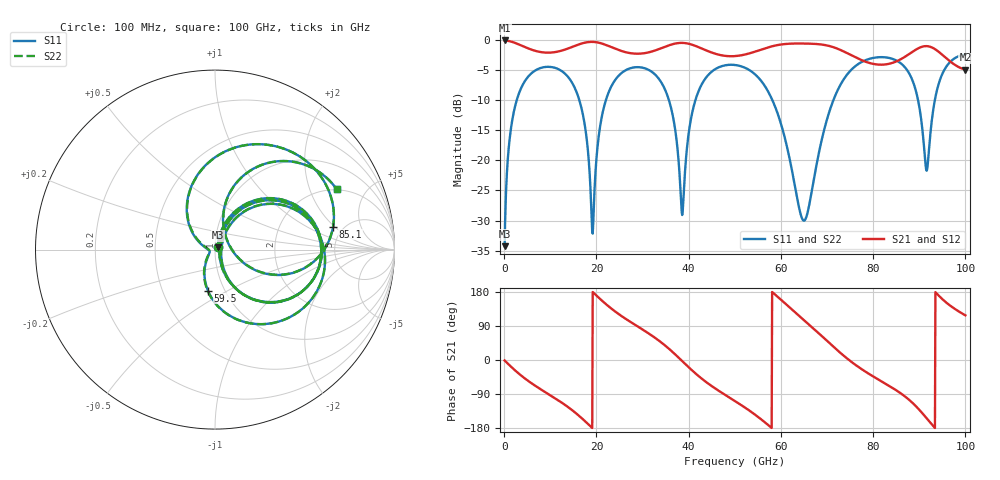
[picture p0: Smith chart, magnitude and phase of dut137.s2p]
! Touchstone file exported from HFSS 2026.1.0
!  File:  C:/ffzhzh/LocalFiles/Ansys_Project_Files/temp_train_TSV_RDL_137_1783641219_29156.aedt
!  Generated:  08:02:22 AM Jul 10, 2026
!  Design:  TSV_RDL
!  Project:  temp_train_TSV_RDL_137_1783641219_29156
! Variables:
!  h_bsmrdl = 4.45um
!  h_ox = 20um
!  h_rdl = 5um
!  h_sub = 74.89um
!  h_tmrdl = 4.91um
!  h_tsv = 74.89um
!  h_via = 3um
!  l_bsmrdl = 356.46um
!  l_sub = 3166.72um
!  l_tmrdl = 398.58um
!  m_sub = 200um
!  pitch = 55.68um
!  r_tsv = 9.06um
!  s_tmrdl = 10um
!  w_bsmrdl = 11.31um
!  w_sub = 500um
!  w_tmrdl = 23.03um
!  x_tsv_center1 = 410.095um
!  x_tsv_center2 = 777.865um
!  x_tsv_center3 = 1199.475um
!  x_tsv_center4 = 1567.245um
!  x_tsv_center5 = 1988.855um
!  x_tsv_center6 = 2356.625um
# GHz S MA R 50.000000
! Terminal data exported
! Port[1] = TM_RDL1_1_T1
! Port[2] = TM_RDL5_1_T1
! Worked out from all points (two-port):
!   1000 points, 100 MHz to 100 GHz, reference 50 ohm
!   highest |S21| = -0.12 dB at 100 MHz (marker M1); lowest = -5.0 dB at 100 GHz (marker M2)
!   |S21| within 3 dB of the highest: start of sweep to 76.7 GHz; 86.26 GHz to 95.93 GHz (9.669 GHz wide, 10.6 % of centre)
!   lowest |S11| = -34.3 dB at 100 MHz (marker M3), VSWR 1.04, Z = 51.4 + j1.35 ohm
!   |S11| at or under -10 dB: 16.29 GHz to 22.07 GHz (5.781 GHz wide, 30.1 % of centre); 35.71 GHz to 41.48 GHz (5.766 GHz wide, 14.9 % of centre); 58.14 GHz to 71.4 GHz (13.26 GHz wide, 20.5 % of centre) (the widest 3 of 5)
!   |S22| runs from -34.3 to -2.4 dB; largest |S21 - S12| = 2e-14
!   S11 on the Smith chart (normalised r, x): 100 MHz: 1.03, +0.03; 59.5 GHz: 0.84, -0.40; 85.1 GHz: 4.13, +1.92; 100 GHz: 1.98, +3.11
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0.1  0.01937 42.6  0.9859 -1.2  0.9859 -1.2  0.01937 42.6
! Gamma 0 0 0 0
! Port Impedance 50 0 50 0
1.6  0.1976 66.0  0.9626 -18.9  0.9626 -18.9  0.1976 66.0
4.7  0.4659 36.7  0.8627 -50.6  0.8627 -50.6  0.4659 36.7
10.5  0.5911 -7.9  0.7844 -96.8  0.7844 -96.8  0.5911 -8.0
16.8  0.2671 -60.2  0.93 -153.3  0.93 -153.3  0.2671 -60.2
19.2  0.02463 9.1  0.9593 179.4  0.9593 179.4  0.02445 9.1
23.2  0.4075 42.4  0.8694 136.1  0.8694 136.1  0.4075 42.5
33.4  0.4815 -36.0  0.8314 52.5  0.8314 52.5  0.4815 -36.1
36.5  0.2405 -62.0  0.9174 21.3  0.9174 21.3  0.2403 -62.3
38.6  0.03512 -4.1  0.9411 -2.8  0.9411 -2.8  0.03354 -4.1
42.1  0.3702 42.9  0.8692 -41.8  0.8692 -41.8  0.37 43.1
50.1  0.6167 -19.2  0.7316 -108.8  0.7316 -108.8  0.6166 -19.1
59.5  0.2314 -99.8  0.9059 164.7  0.9059 164.7  0.231 -100.4
64.5  0.03352 -151.8  0.93 110.8  0.93 110.8  0.03311 -157.6
66.7  0.05555 167.9  0.926 87.1  0.926 87.1  0.05607 164.4
73.1  0.4356 101.9  0.8164 16.7  0.8164 16.7  0.4357 101.7
83.4  0.7068 22.7  0.6307 -67.7  0.6307 -67.7  0.7069 22.8
85.1  0.6704 11.0  0.6626 -80.7  0.6626 -80.7  0.6705 11.1
89.1  0.3966 -20.8  0.82 -119.8  0.82 -119.8  0.3969 -20.6
91.6  0.08181 25.3  0.8848 -153.9  0.8848 -153.9  0.08321 25.3
94.6  0.4774 66.3  0.7719 165.3  0.7719 165.3  0.4775 66.3
100  0.7568 26.3  0.565 117.7  0.565 117.7  0.7568 26.3
